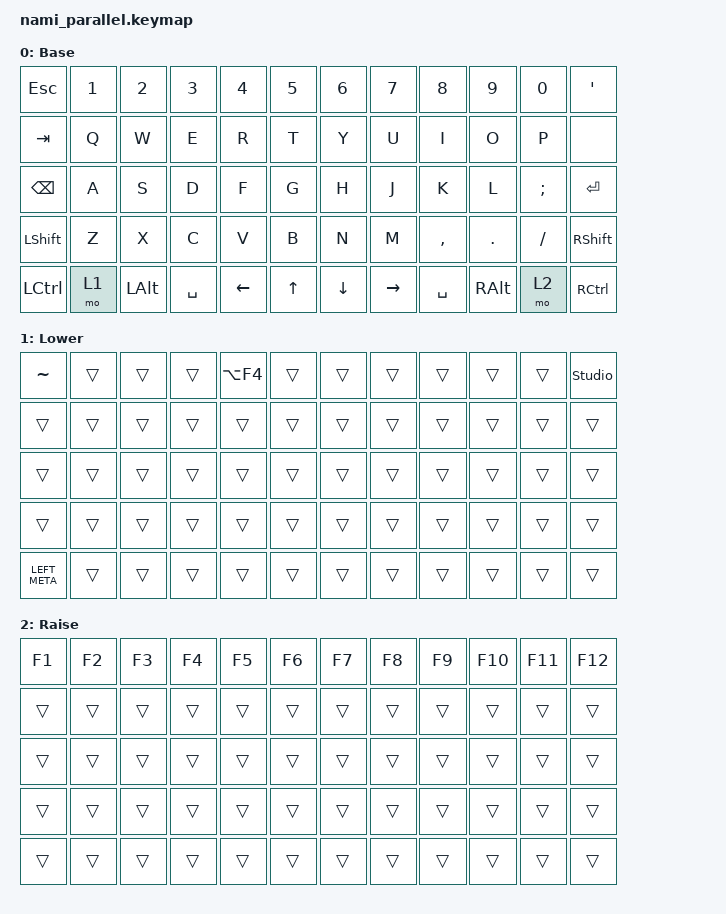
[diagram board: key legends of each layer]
#include <behaviors.dtsi>
#include <dt-bindings/zmk/keys.h>

/ {
    keymap {
        compatible = "zmk,keymap";

        default_layer {
            display-name = "Base";
            bindings = <
&kp ESC         &kp N1  &kp N2        &kp N3     &kp N4    &kp N5  &kp N6    &kp N7     &kp N8     &kp N9         &kp N0         &kp SQT
&kp TAB         &kp Q   &kp W         &kp E      &kp R     &kp T   &kp Y     &kp U      &kp I      &kp O          &kp P          &none
&kp BACKSPACE   &kp A   &kp S         &kp D      &kp F     &kp G   &kp H     &kp J      &kp K      &kp L          &kp SEMICOLON  &kp ENTER
&kp LEFT_SHIFT  &kp Z   &kp X         &kp C      &kp V     &kp B   &kp N     &kp M      &kp COMMA  &kp PERIOD     &kp SLASH      &kp RSHIFT
&kp LCTRL       &mo 1   &kp LEFT_ALT  &kp SPACE  &kp LEFT  &kp UP  &kp DOWN  &kp RIGHT  &kp SPACE  &kp RIGHT_ALT  &mo 2          &kp RCTRL
            >;
        };

        lower_layer {
            display-name = "Lower";
            bindings = <
&kp TILDE      &trans  &trans  &trans  &kp LA(F4)  &trans  &trans  &trans  &trans  &trans  &trans  &studio_unlock
&trans         &trans  &trans  &trans  &trans      &trans  &trans  &trans  &trans  &trans  &trans  &trans
&trans         &trans  &trans  &trans  &trans      &trans  &trans  &trans  &trans  &trans  &trans  &trans
&trans         &trans  &trans  &trans  &trans      &trans  &trans  &trans  &trans  &trans  &trans  &trans
&kp LEFT_META  &trans  &trans  &trans  &trans      &trans  &trans  &trans  &trans  &trans  &trans  &trans
            >;
        };

        raise_layer {
            display-name = "Raise";
            bindings = <
&kp F1  &kp F2  &kp F3  &kp F4  &kp F5  &kp F6  &kp F7  &kp F8  &kp F9  &kp F10  &kp F11  &kp F12
&trans  &trans  &trans  &trans  &trans  &trans  &trans  &trans  &trans  &trans   &trans   &trans
&trans  &trans  &trans  &trans  &trans  &trans  &trans  &trans  &trans  &trans   &trans   &trans
&trans  &trans  &trans  &trans  &trans  &trans  &trans  &trans  &trans  &trans   &trans   &trans
&trans  &trans  &trans  &trans  &trans  &trans  &trans  &trans  &trans  &trans   &trans   &trans
            >;
        };
    };
};
